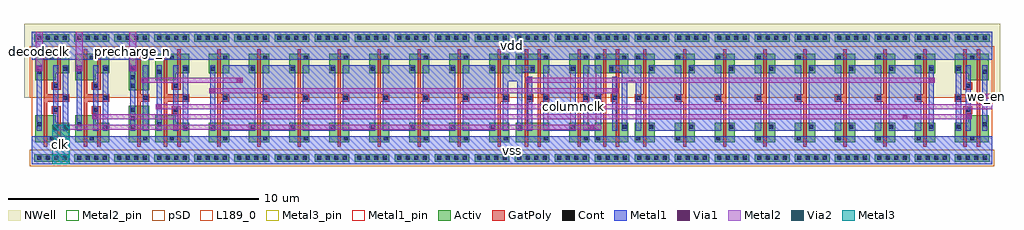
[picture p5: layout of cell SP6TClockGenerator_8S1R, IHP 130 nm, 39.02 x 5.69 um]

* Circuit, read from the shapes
.subckt SP6TClockGenerator_8S1R clk columnclk decodeclk precharge_n vdd vss we_en wl_en
XM1 vss n1 decodeclk vss sg13_lv_nmos w=1.07u l=0.13u
XM2 n1 clk vss vss sg13_lv_nmos w=0.78u l=0.13u
XM3 vss n2 wl_en vss sg13_lv_nmos w=1.07u l=0.13u
XM4 n2 SP6TNonOverlapClock_8S1R_4/firststage[7] vss vss sg13_lv_nmos w=0.78u l=0.13u
XM5 vss inv_x1_3/i precharge_n vss sg13_lv_nmos w=1.46u l=0.13u
XM6 vss n3 columnclk vss sg13_lv_nmos w=1.07u l=0.13u
XM7 n3 clk vss vss sg13_lv_nmos w=0.78u l=0.13u
XM8 vss inv_x1_3/i SP6TNonOverlapClock_8S1R_4/secondstage[8] vss sg13_lv_nmos w=0.78u l=0.13u
XM9 vss SP6TNonOverlapClock_8S1R_4/secondstage[6] inv_x1_3/i vss sg13_lv_nmos w=0.78u l=0.13u
XM10 vss SP6TNonOverlapClock_8S1R_4/secondstage[5] SP6TNonOverlapClock_8S1R_4/secondstage[6] vss sg13_lv_nmos w=0.78u l=0.13u
XM11 vss SP6TNonOverlapClock_8S1R_4/secondstage[4] SP6TNonOverlapClock_8S1R_4/secondstage[5] vss sg13_lv_nmos w=0.78u l=0.13u
XM12 vss SP6TNonOverlapClock_8S1R_4/secondstage[3] SP6TNonOverlapClock_8S1R_4/secondstage[4] vss sg13_lv_nmos w=0.78u l=0.13u
XM13 vss SP6TNonOverlapClock_8S1R_4/secondstage[2] SP6TNonOverlapClock_8S1R_4/secondstage[3] vss sg13_lv_nmos w=0.78u l=0.13u
XM14 vss SP6TNonOverlapClock_8S1R_4/secondstage[1] SP6TNonOverlapClock_8S1R_4/secondstage[2] vss sg13_lv_nmos w=0.78u l=0.13u
XM15 vss SP6TNonOverlapClock_8S1R_4/secondstage[0] SP6TNonOverlapClock_8S1R_4/secondstage[1] vss sg13_lv_nmos w=0.78u l=0.13u
XM16 n4 SP6TNonOverlapClock_8S1R_4/firststage[8] SP6TNonOverlapClock_8S1R_4/secondstage[0] vss sg13_lv_nmos w=0.78u l=0.13u
XM17 vss SP6TNonOverlapClock_8S1R_4/nand2_x0_9/i0 n4 vss sg13_lv_nmos w=0.78u l=0.13u
XM18 vss clk SP6TNonOverlapClock_8S1R_4/nand2_x0_9/i0 vss sg13_lv_nmos w=0.78u l=0.13u
XM19 n5 clk vss vss sg13_lv_nmos w=0.78u l=0.13u
XM20 SP6TNonOverlapClock_8S1R_4/firststage[0] SP6TNonOverlapClock_8S1R_4/secondstage[8] n5 vss sg13_lv_nmos w=0.78u l=0.13u
XM21 SP6TNonOverlapClock_8S1R_4/firststage[1] SP6TNonOverlapClock_8S1R_4/firststage[0] vss vss sg13_lv_nmos w=0.78u l=0.13u
XM22 SP6TNonOverlapClock_8S1R_4/firststage[2] SP6TNonOverlapClock_8S1R_4/firststage[1] vss vss sg13_lv_nmos w=0.78u l=0.13u
XM23 SP6TNonOverlapClock_8S1R_4/firststage[3] SP6TNonOverlapClock_8S1R_4/firststage[2] vss vss sg13_lv_nmos w=0.78u l=0.13u
XM24 SP6TNonOverlapClock_8S1R_4/firststage[4] SP6TNonOverlapClock_8S1R_4/firststage[3] vss vss sg13_lv_nmos w=0.78u l=0.13u
XM25 SP6TNonOverlapClock_8S1R_4/firststage[5] SP6TNonOverlapClock_8S1R_4/firststage[4] vss vss sg13_lv_nmos w=0.78u l=0.13u
XM26 SP6TNonOverlapClock_8S1R_4/firststage[6] SP6TNonOverlapClock_8S1R_4/firststage[5] vss vss sg13_lv_nmos w=0.78u l=0.13u
XM27 SP6TNonOverlapClock_8S1R_4/firststage[7] SP6TNonOverlapClock_8S1R_4/firststage[6] vss vss sg13_lv_nmos w=0.78u l=0.13u
XM28 SP6TNonOverlapClock_8S1R_4/firststage[8] SP6TNonOverlapClock_8S1R_4/firststage[7] vss vss sg13_lv_nmos w=0.78u l=0.13u
XM29 vss SP6TNonOverlapClock_8S1R_4/firststage[7] n6 vss sg13_lv_nmos w=0.78u l=0.13u
XM30 we_en n6 vss vss sg13_lv_nmos w=1.07u l=0.13u
XM31 vdd n1 decodeclk vdd sg13_lv_pmos w=1.06u l=0.13u
XM32 n1 clk vdd vdd sg13_lv_pmos w=0.78u l=0.13u
XM33 vdd n2 wl_en vdd sg13_lv_pmos w=1.06u l=0.13u
XM34 n2 SP6TNonOverlapClock_8S1R_4/firststage[7] vdd vdd sg13_lv_pmos w=0.78u l=0.13u
XM35 vdd inv_x1_3/i precharge_n vdd sg13_lv_pmos w=1.45u l=0.13u
XM36 vdd n3 columnclk vdd sg13_lv_pmos w=1.06u l=0.13u
XM37 n3 clk vdd vdd sg13_lv_pmos w=0.78u l=0.13u
XM38 vdd inv_x1_3/i SP6TNonOverlapClock_8S1R_4/secondstage[8] vdd sg13_lv_pmos w=0.78u l=0.13u
XM39 vdd SP6TNonOverlapClock_8S1R_4/secondstage[6] inv_x1_3/i vdd sg13_lv_pmos w=0.78u l=0.13u
XM40 vdd SP6TNonOverlapClock_8S1R_4/secondstage[5] SP6TNonOverlapClock_8S1R_4/secondstage[6] vdd sg13_lv_pmos w=0.78u l=0.13u
XM41 vdd SP6TNonOverlapClock_8S1R_4/secondstage[4] SP6TNonOverlapClock_8S1R_4/secondstage[5] vdd sg13_lv_pmos w=0.78u l=0.13u
XM42 vdd SP6TNonOverlapClock_8S1R_4/secondstage[3] SP6TNonOverlapClock_8S1R_4/secondstage[4] vdd sg13_lv_pmos w=0.78u l=0.13u
XM43 vdd SP6TNonOverlapClock_8S1R_4/secondstage[2] SP6TNonOverlapClock_8S1R_4/secondstage[3] vdd sg13_lv_pmos w=0.78u l=0.13u
XM44 vdd SP6TNonOverlapClock_8S1R_4/secondstage[1] SP6TNonOverlapClock_8S1R_4/secondstage[2] vdd sg13_lv_pmos w=0.78u l=0.13u
XM45 vdd SP6TNonOverlapClock_8S1R_4/secondstage[0] SP6TNonOverlapClock_8S1R_4/secondstage[1] vdd sg13_lv_pmos w=0.78u l=0.13u
XM46 SP6TNonOverlapClock_8S1R_4/secondstage[0] SP6TNonOverlapClock_8S1R_4/firststage[8] vdd vdd sg13_lv_pmos w=0.78u l=0.13u
XM47 vdd SP6TNonOverlapClock_8S1R_4/nand2_x0_9/i0 SP6TNonOverlapClock_8S1R_4/secondstage[0] vdd sg13_lv_pmos w=0.78u l=0.13u
XM48 vdd clk SP6TNonOverlapClock_8S1R_4/nand2_x0_9/i0 vdd sg13_lv_pmos w=0.78u l=0.13u
XM49 SP6TNonOverlapClock_8S1R_4/firststage[0] clk vdd vdd sg13_lv_pmos w=0.78u l=0.13u
XM50 vdd SP6TNonOverlapClock_8S1R_4/secondstage[8] SP6TNonOverlapClock_8S1R_4/firststage[0] vdd sg13_lv_pmos w=0.78u l=0.13u
XM51 SP6TNonOverlapClock_8S1R_4/firststage[1] SP6TNonOverlapClock_8S1R_4/firststage[0] vdd vdd sg13_lv_pmos w=0.78u l=0.13u
XM52 SP6TNonOverlapClock_8S1R_4/firststage[2] SP6TNonOverlapClock_8S1R_4/firststage[1] vdd vdd sg13_lv_pmos w=0.78u l=0.13u
XM53 SP6TNonOverlapClock_8S1R_4/firststage[3] SP6TNonOverlapClock_8S1R_4/firststage[2] vdd vdd sg13_lv_pmos w=0.78u l=0.13u
XM54 SP6TNonOverlapClock_8S1R_4/firststage[4] SP6TNonOverlapClock_8S1R_4/firststage[3] vdd vdd sg13_lv_pmos w=0.78u l=0.13u
XM55 SP6TNonOverlapClock_8S1R_4/firststage[5] SP6TNonOverlapClock_8S1R_4/firststage[4] vdd vdd sg13_lv_pmos w=0.78u l=0.13u
XM56 SP6TNonOverlapClock_8S1R_4/firststage[6] SP6TNonOverlapClock_8S1R_4/firststage[5] vdd vdd sg13_lv_pmos w=0.78u l=0.13u
XM57 SP6TNonOverlapClock_8S1R_4/firststage[7] SP6TNonOverlapClock_8S1R_4/firststage[6] vdd vdd sg13_lv_pmos w=0.78u l=0.13u
XM58 SP6TNonOverlapClock_8S1R_4/firststage[8] SP6TNonOverlapClock_8S1R_4/firststage[7] vdd vdd sg13_lv_pmos w=0.78u l=0.13u
XM59 vdd SP6TNonOverlapClock_8S1R_4/firststage[7] n6 vdd sg13_lv_pmos w=0.78u l=0.13u
XM60 we_en n6 vdd vdd sg13_lv_pmos w=1.06u l=0.13u
.ends

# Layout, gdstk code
from math import pi, radians
import gdstk
lib = gdstk.Library(unit=1e-6, precision=1e-09)
def R(c, l, rs):  # rectangles x0, y0, x1, y1
    for r in rs: c.add(gdstk.rectangle(r[:2], r[2:], *l))
def A(c, l, x, y, w, h, nx, ny, dx, dy):  # array of equal rectangles
    R(c, l, [(x+i*dx, y+j*dy, x+i*dx+w, y+j*dy+h) for i in range(nx) for j in range(ny)])
def P(c, l, *ps):  # polygons
    for p in ps: c.add(gdstk.Polygon(p, *l))
Activ = (1, 0)
GatPoly = (5, 0)
Cont = (6, 0)
Metal1 = (8, 0)
Metal1_pin = (8, 2)
Metal2 = (10, 0)
Metal2_pin = (10, 2)
pSD = (14, 0)
Via1 = (19, 0)
Via2 = (29, 0)
Metal3 = (30, 0)
Metal3_pin = (30, 2)
NWell = (31, 0)
L189_0 = (189, 0)

buf_x1 = lib.new_cell('buf_x1')
R(buf_x1, Activ, [(0.105,0.105,1.495,0.405), (0.105,4.905,1.495,5.205)])
P(buf_x1, Activ, [(0.645,3.36),(0.645,3.64),(0.105,3.64),(0.105,4.42),(1.455,4.42),(1.455,3.36)],
  [(0.105,0.89),(0.105,1.67),(0.645,1.67),(0.645,1.96),(1.455,1.96),(1.455,0.89)])
P(buf_x1, GatPoly, [(0.985,0.71),(0.985,2.51),(0.105,2.51),(0.105,2.81),(0.985,2.81),(0.985,4.6),(1.115,4.6),(1.115,0.71)],
  [(0.445,0.71),(0.445,2.33),(0.795,2.33),(0.795,2.03),(0.575,2.03),(0.575,0.71)],
  [(0.445,2.99),(0.445,4.6),(0.575,4.6),(0.575,3.29),(0.795,3.29),(0.795,2.99)])
A(buf_x1, Cont, 0.21, 0.175, 0.16, 0.16, 4, 2, 0.34, 4.8)
R(buf_x1, Cont, [(0.715,0.96,0.875,1.12), (0.175,1.415,0.335,1.575), (1.225,1.525,1.385,1.685), (0.565,2.1,0.725,2.26), (0.175,2.58,0.335,2.74), (0.565,3.06,0.725,3.22), (1.225,3.63,1.385,3.79), (0.175,3.735,0.335,3.895), (0.715,4.19,0.875,4.35)])
R(buf_x1, Metal1, [(0,0,1.6,1.12), (0.54,1.34,0.75,3.97), (1.2,1.34,1.41,3.97), (0,4.19,1.6,5.31)])
P(buf_x1, Metal1, [(0.175,1.34),(0.175,1.365),(0.15,1.365),(0.15,3.945),(0.175,3.945),(0.175,3.97),(0.335,3.97),(0.335,3.945),(0.36,3.945),(0.36,1.365),(0.335,1.365),(0.335,1.34)])
R(buf_x1, Metal1_pin, [(0,0,1.6,1.12), (0.54,1.34,0.75,3.97), (1.2,1.34,1.41,3.97), (0,4.19,1.6,5.31)])
R(buf_x1, pSD, [(-0.075,-0.075,1.675,0.585), (-0.075,2.66,1.675,4.72)])
R(buf_x1, NWell, [(-0.31,2.66,1.91,5.62)])
buf_x1.add(gdstk.Label('vdd', (0.8,4.75), layer=8, texttype=25))
buf_x1.add(gdstk.Label('vss', (0.8,0.56), layer=8, texttype=25))
buf_x1.add(gdstk.Label('i', (0.645,2.655), layer=8, texttype=25))
buf_x1.add(gdstk.Label('q', (1.305,2.655), layer=8, texttype=25))

inv_x1 = lib.new_cell('inv_x1')
R(inv_x1, Activ, [(0.105,0.105,1.495,0.405), (0.105,0.89,0.915,2.35), (0.105,2.97,0.915,4.42), (0.105,4.905,1.495,5.205)])
P(inv_x1, GatPoly, [(0.445,0.71),(0.445,2.51),(0.105,2.51),(0.105,2.81),(0.445,2.81),(0.445,4.6),(0.575,4.6),(0.575,0.71)])
A(inv_x1, Cont, 0.21, 0.175, 0.16, 0.16, 4, 2, 0.34, 4.8)
A(inv_x1, Cont, 0.685, 1.415, 0.16, 0.16, 1, 3, 0, 0.34)
A(inv_x1, Cont, 0.685, 3.06, 0.16, 0.16, 1, 3, 0, 0.34)
R(inv_x1, Cont, [(0.175,0.96,0.335,1.12), (0.175,2.58,0.335,2.74), (0.175,4.19,0.335,4.35)])
R(inv_x1, Metal1, [(0,0,1.6,1.12), (0.15,1.34,0.36,3.97), (0.66,1.34,0.87,3.97), (0,4.19,1.6,5.31)])
R(inv_x1, Metal1_pin, [(0,0,1.6,1.12), (0.15,1.34,0.36,3.97), (0.66,1.34,0.87,3.97), (0,4.19,1.6,5.31)])
R(inv_x1, pSD, [(-0.075,-0.075,1.675,0.585), (-0.075,2.66,1.675,4.72)])
R(inv_x1, NWell, [(-0.31,2.66,1.91,5.62)])
inv_x1.add(gdstk.Label('vss', (0.8,0.56), layer=8, texttype=25))
inv_x1.add(gdstk.Label('vdd', (0.8,4.75), layer=8, texttype=25))
inv_x1.add(gdstk.Label('nq', (0.765,2.655), layer=8, texttype=25))
inv_x1.add(gdstk.Label('i', (0.255,2.655), layer=8, texttype=25))

inv_x0 = lib.new_cell('inv_x0')
R(inv_x0, Activ, [(0.105,0.105,1.495,0.405), (0.105,0.89,0.915,1.67), (0.105,3.64,0.915,4.42), (0.105,4.905,1.495,5.205)])
P(inv_x0, GatPoly, [(0.445,0.71),(0.445,2.51),(0.105,2.51),(0.105,2.81),(0.445,2.81),(0.445,4.6),(0.575,4.6),(0.575,0.71)])
A(inv_x0, Cont, 0.21, 0.175, 0.16, 0.16, 4, 2, 0.34, 4.8)
R(inv_x0, Cont, [(0.175,0.96,0.335,1.12), (0.685,1.415,0.845,1.575), (0.175,2.58,0.335,2.74), (0.685,3.735,0.845,3.895), (0.175,4.19,0.335,4.35)])
R(inv_x0, Metal1, [(0,0,1.6,1.12), (0.15,1.34,0.36,3.97), (0.66,1.34,0.87,3.97), (0,4.19,1.6,5.31)])
R(inv_x0, Metal1_pin, [(0,0,1.6,1.12), (0.15,1.34,0.36,3.97), (0.66,1.34,0.87,3.97), (0,4.19,1.6,5.31)])
R(inv_x0, pSD, [(-0.075,-0.075,1.675,0.585), (-0.075,2.66,1.675,4.72)])
R(inv_x0, NWell, [(-0.31,2.66,1.91,5.62)])
inv_x0.add(gdstk.Label('vss', (0.8,0.56), layer=8, texttype=25))
inv_x0.add(gdstk.Label('vdd', (0.8,4.75), layer=8, texttype=25))
inv_x0.add(gdstk.Label('nq', (0.765,2.655), layer=8, texttype=25))
inv_x0.add(gdstk.Label('i', (0.255,2.655), layer=8, texttype=25))

nand2_x0 = lib.new_cell('nand2_x0')
R(nand2_x0, Activ, [(0.105,0.105,1.495,0.405), (0.105,0.89,1.445,1.67), (0.105,3.64,1.445,4.42), (0.105,4.905,1.495,5.205)])
P(nand2_x0, GatPoly, [(0.445,0.71),(0.445,2.51),(0.105,2.51),(0.105,2.81),(0.445,2.81),(0.445,4.6),(0.575,4.6),(0.575,0.71)],
  [(0.955,0.71),(0.955,2.51),(0.755,2.51),(0.755,2.81),(0.955,2.81),(0.955,4.6),(1.085,4.6),(1.085,0.71)])
A(nand2_x0, Cont, 0.21, 0.175, 0.16, 0.16, 4, 2, 0.34, 4.8)
R(nand2_x0, Cont, [(0.175,0.96,0.335,1.12), (1.215,1.415,1.375,1.575), (0.175,2.58,0.335,2.74), (0.825,2.58,0.985,2.74), (0.685,3.735,0.845,3.895), (0.175,4.19,0.335,4.35), (1.215,4.19,1.375,4.35)])
R(nand2_x0, Metal1, [(0,0,1.6,1.12), (0.15,1.34,0.36,3.97), (0.8,1.34,1.01,3.505), (0,4.19,1.6,5.31)])
P(nand2_x0, Metal1, [(1.19,1.34),(1.19,3.685),(0.685,3.685),(0.685,3.97),(1.4,3.97),(1.4,1.34)])
R(nand2_x0, Metal1_pin, [(0,0,1.6,1.12), (0.15,1.34,0.36,3.97), (0.8,1.34,1.01,3.505), (1.19,1.34,1.4,3.97), (0,4.19,1.6,5.31)])
R(nand2_x0, pSD, [(-0.075,-0.075,1.675,0.585), (-0.075,2.66,1.675,4.72)])
R(nand2_x0, NWell, [(-0.31,2.66,1.91,5.62)])
nand2_x0.add(gdstk.Label('vss', (0.8,0.56), layer=8, texttype=25))
nand2_x0.add(gdstk.Label('vdd', (0.8,4.75), layer=8, texttype=25))
nand2_x0.add(gdstk.Label('i0', (0.255,2.655), layer=8, texttype=25))
nand2_x0.add(gdstk.Label('i1', (0.905,2.423), layer=8, texttype=25))
nand2_x0.add(gdstk.Label('nq', (1.295,2.655), layer=8, texttype=25))

sp6tnonoverlapclock_8s1r = lib.new_cell('SP6TNonOverlapClock_8S1R')
A(sp6tnonoverlapclock_8s1r, Metal1, 1.24, 1.34, 1.3, 2.63, 7, 1, 1.6, 0)
A(sp6tnonoverlapclock_8s1r, Metal1, 18.26, 1.34, 1.3, 2.63, 7, 1, 1.6, 0)
R(sp6tnonoverlapclock_8s1r, Metal1, [(0,0,30.4,1.12), (14.145,1.34,15.235,3.97), (15.745,1.34,16.255,3.97), (0.73,2.805,0.94,3.095), (16.8,2.805,17.01,3.095), (13.39,3.215,13.6,3.505), (29.46,3.215,29.67,3.505), (12.44,3.33,13.105,3.97), (17.295,3.33,17.96,3.97), (0,4.19,30.4,5.31)])
A(sp6tnonoverlapclock_8s1r, Metal1_pin, 1.24, 1.34, 1.3, 2.63, 7, 1, 1.6, 0)
A(sp6tnonoverlapclock_8s1r, Metal1_pin, 18.26, 1.34, 1.3, 2.63, 7, 1, 1.6, 0)
R(sp6tnonoverlapclock_8s1r, Metal1_pin, [(0,0,30.4,1.12), (12.44,3.33,13.105,3.97), (17.295,3.33,17.96,3.97), (0,4.19,30.4,5.31)])
R(sp6tnonoverlapclock_8s1r, Metal2, [(15.64,1.385,16.36,1.585), (0.69,2.85,17.05,3.05), (13.35,3.26,29.71,3.46)])
R(sp6tnonoverlapclock_8s1r, Metal2_pin, [(15.64,1.385,16.36,1.585), (0.69,2.85,17.05,3.05), (13.35,3.26,29.71,3.46)])
R(sp6tnonoverlapclock_8s1r, Via1, [(15.905,1.39,16.095,1.58), (0.74,2.855,0.93,3.045), (16.81,2.855,17,3.045), (13.4,3.265,13.59,3.455), (29.47,3.265,29.66,3.455)])
R(sp6tnonoverlapclock_8s1r, L189_0, [(0,0,30.4,5.31)])
sp6tnonoverlapclock_8s1r.add(gdstk.Reference(inv_x0, (1.6,0), rotation=pi, x_reflection=True))
sp6tnonoverlapclock_8s1r.add(gdstk.Reference(inv_x0, (3.2,0), rotation=pi, x_reflection=True))
sp6tnonoverlapclock_8s1r.add(gdstk.Reference(inv_x0, (4.8,0), rotation=pi, x_reflection=True))
sp6tnonoverlapclock_8s1r.add(gdstk.Reference(inv_x0, (6.4,0), rotation=pi, x_reflection=True))
sp6tnonoverlapclock_8s1r.add(gdstk.Reference(inv_x0, (8,0), rotation=pi, x_reflection=True))
sp6tnonoverlapclock_8s1r.add(gdstk.Reference(inv_x0, (9.6,0), rotation=pi, x_reflection=True))
sp6tnonoverlapclock_8s1r.add(gdstk.Reference(inv_x0, (11.2,0), rotation=pi, x_reflection=True))
sp6tnonoverlapclock_8s1r.add(gdstk.Reference(inv_x0, (12.8,0), rotation=pi, x_reflection=True))
sp6tnonoverlapclock_8s1r.add(gdstk.Reference(inv_x0, (16,0), rotation=pi, x_reflection=True))
sp6tnonoverlapclock_8s1r.add(gdstk.Reference(nand2_x0, (14.4,0), rotation=pi, x_reflection=True))
sp6tnonoverlapclock_8s1r.add(gdstk.Reference(nand2_x0, (16,0)))
sp6tnonoverlapclock_8s1r.add(gdstk.Reference(inv_x0, (17.6,0)))
sp6tnonoverlapclock_8s1r.add(gdstk.Reference(inv_x0, (19.2,0)))
sp6tnonoverlapclock_8s1r.add(gdstk.Reference(inv_x0, (20.8,0)))
sp6tnonoverlapclock_8s1r.add(gdstk.Reference(inv_x0, (22.4,0)))
sp6tnonoverlapclock_8s1r.add(gdstk.Reference(inv_x0, (24,0)))
sp6tnonoverlapclock_8s1r.add(gdstk.Reference(inv_x0, (25.6,0)))
sp6tnonoverlapclock_8s1r.add(gdstk.Reference(inv_x0, (27.2,0)))
sp6tnonoverlapclock_8s1r.add(gdstk.Reference(inv_x0, (28.8,0)))
sp6tnonoverlapclock_8s1r.add(gdstk.Label('clk', (16,1.485), layer=10, texttype=25))
sp6tnonoverlapclock_8s1r.add(gdstk.Label('firststage[8]', (21.53,3.36), layer=10, texttype=25))
sp6tnonoverlapclock_8s1r.add(gdstk.Label('secondstage[8]', (8.87,2.95), layer=10, texttype=25))
sp6tnonoverlapclock_8s1r.add(gdstk.Label('firststage[4]', (23.71,2.655), layer=8, texttype=25))
sp6tnonoverlapclock_8s1r.add(gdstk.Label('secondstage[3]', (8.29,2.655), layer=8, texttype=25))
sp6tnonoverlapclock_8s1r.add(gdstk.Label('secondstage[6]', (3.49,2.655), layer=8, texttype=25))
sp6tnonoverlapclock_8s1r.add(gdstk.Label('firststage[7]', (28.51,2.655), layer=8, texttype=25))
sp6tnonoverlapclock_8s1r.add(gdstk.Label('secondstage[7]', (1.89,2.655), layer=8, texttype=25))
sp6tnonoverlapclock_8s1r.add(gdstk.Label('secondstage[5]', (5.09,2.655), layer=8, texttype=25))
sp6tnonoverlapclock_8s1r.add(gdstk.Label('firststage[6]', (26.91,2.655), layer=8, texttype=25))
sp6tnonoverlapclock_8s1r.add(gdstk.Label('vdd', (15.2,4.75), layer=8, texttype=25))
sp6tnonoverlapclock_8s1r.add(gdstk.Label('firststage[3]', (22.11,2.655), layer=8, texttype=25))
sp6tnonoverlapclock_8s1r.add(gdstk.Label('vss', (15.2,0.56), layer=8, texttype=25))
sp6tnonoverlapclock_8s1r.add(gdstk.Label('firststage[5]', (25.31,2.655), layer=8, texttype=25))
sp6tnonoverlapclock_8s1r.add(gdstk.Label('firststage[2]', (20.51,2.655), layer=8, texttype=25))
sp6tnonoverlapclock_8s1r.add(gdstk.Label('firststage[0]', (17.627,3.65), layer=8, texttype=25))
sp6tnonoverlapclock_8s1r.add(gdstk.Label('secondstage[2]', (9.89,2.655), layer=8, texttype=25))
sp6tnonoverlapclock_8s1r.add(gdstk.Label('secondstage[0]', (12.772,3.65), layer=8, texttype=25))
sp6tnonoverlapclock_8s1r.add(gdstk.Label('secondstage[4]', (6.69,2.655), layer=8, texttype=25))
sp6tnonoverlapclock_8s1r.add(gdstk.Label('firststage[1]', (18.91,2.655), layer=8, texttype=25))
sp6tnonoverlapclock_8s1r.add(gdstk.Label('secondstage[1]', (11.49,2.655), layer=8, texttype=25))

sp6tclockgenerator_8s1r = lib.new_cell('SP6TClockGenerator_8S1R')
R(sp6tclockgenerator_8s1r, Metal1, [(0,0,38.4,1.12), (0.85,1.34,1.06,1.63), (5.65,1.34,5.86,1.63), (2.45,1.75,2.66,2.04), (34.805,1.75,35.015,2.04), (37.34,1.75,37.55,2.04), (4.99,2.16,5.2,2.45), (38,2.57,38.21,2.86), (4.44,3.215,4.65,3.505), (8.185,3.215,8.395,3.505), (0.19,3.68,0.4,3.97), (1.79,3.68,2,3.97), (3.93,3.68,4.14,3.97), (0,4.19,38.4,5.31)])
R(sp6tclockgenerator_8s1r, Metal1_pin, [(0,0,38.4,1.12), (0,4.19,38.4,5.31)])
R(sp6tclockgenerator_8s1r, Metal2, [(0.81,1.385,22.76,1.585), (2.41,1.795,37.59,1.995), (4.95,2.205,38.4,2.405), (37.96,2.615,38.4,2.815), (4.4,3.26,8.435,3.46), (0.15,3.725,0.44,5.31), (1.75,3.725,2.04,5.31), (3.89,3.725,4.18,5.31)])
R(sp6tclockgenerator_8s1r, Metal2_pin, [(4.95,2.205,38.4,2.405), (37.96,2.615,38.4,2.815), (0.15,3.725,0.44,5.31), (1.75,3.725,2.04,5.31), (3.89,3.725,4.18,5.31)])
R(sp6tclockgenerator_8s1r, Via1, [(0.86,1.39,1.05,1.58), (5.66,1.39,5.85,1.58), (2.46,1.8,2.65,1.99), (34.815,1.8,35.005,1.99), (37.35,1.8,37.54,1.99), (5,2.21,5.19,2.4), (38.01,2.62,38.2,2.81), (4.45,3.265,4.64,3.455), (8.195,3.265,8.385,3.455), (0.2,3.73,0.39,3.92), (1.8,3.73,1.99,3.92), (3.94,3.73,4.13,3.92)])
R(sp6tclockgenerator_8s1r, Via2, [(0.86,1.39,1.05,1.58), (1.27,1.39,1.46,1.58)])
R(sp6tclockgenerator_8s1r, Metal3, [(0.81,0,1.51,1.585)])
R(sp6tclockgenerator_8s1r, Metal3_pin, [(0.81,0,1.51,1.585)])
R(sp6tclockgenerator_8s1r, L189_0, [(0,0,38.4,5.31)])
sp6tclockgenerator_8s1r.add(gdstk.Reference(buf_x1, (1.6,0), rotation=pi, x_reflection=True))
sp6tclockgenerator_8s1r.add(gdstk.Reference(buf_x1, (3.2,0), rotation=pi, x_reflection=True))
sp6tclockgenerator_8s1r.add(gdstk.Reference(buf_x1, (6.4,0), rotation=pi, x_reflection=True))
sp6tclockgenerator_8s1r.add(gdstk.Reference(inv_x1, (4.8,0), rotation=pi, x_reflection=True))
sp6tclockgenerator_8s1r.add(gdstk.Reference(sp6tnonoverlapclock_8s1r, (6.4,0)))
sp6tclockgenerator_8s1r.add(gdstk.Reference(buf_x1, (36.8,0)))
sp6tclockgenerator_8s1r.add(gdstk.Label('decodeclk', (0.295,4.517), layer=10, texttype=25))
sp6tclockgenerator_8s1r.add(gdstk.Label('wl_en', (1.895,4.517), layer=10, texttype=25))
sp6tclockgenerator_8s1r.add(gdstk.Label('precharge_n', (4.035,4.517), layer=10, texttype=25))
sp6tclockgenerator_8s1r.add(gdstk.Label('columnclk', (21.675,2.305), layer=10, texttype=25))
sp6tclockgenerator_8s1r.add(gdstk.Label('we_en', (38.18,2.715), layer=10, texttype=25))
sp6tclockgenerator_8s1r.add(gdstk.Label('clk', (1.16,0.793), layer=30, texttype=25))
sp6tclockgenerator_8s1r.add(gdstk.Label('vss', (19.2,0.56), layer=8, texttype=25))
sp6tclockgenerator_8s1r.add(gdstk.Label('vdd', (19.2,4.75), layer=8, texttype=25))

lib.write_gds('SP6TClockGenerator_8S1R.gds')
